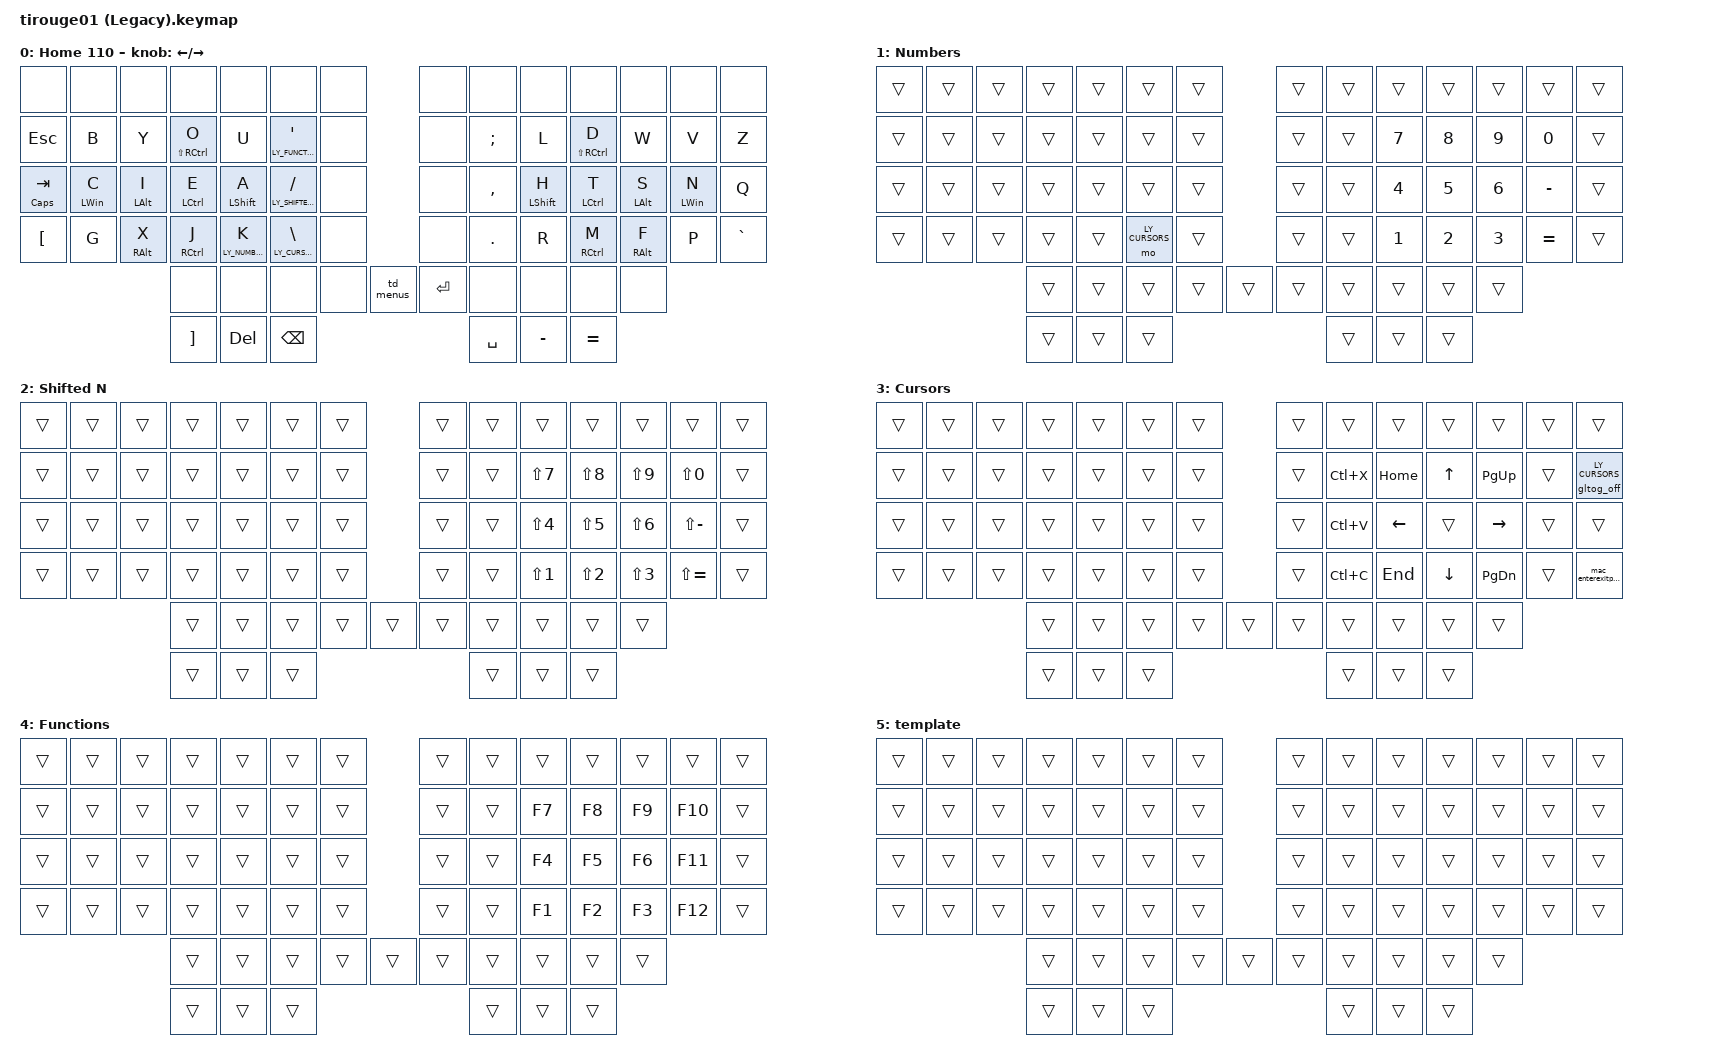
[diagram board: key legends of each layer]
/*
 * Copyright (c) 2022 The ZMK Contributors
 *
 * SPDX-License-Identifier: MIT
 */

#include <behaviors.dtsi>
#include <dt-bindings/zmk/keys.h>
#include <dt-bindings/zmk/bt.h>
#include <dt-bindings/zmk/outputs.h>

#define LY_DEFAULT   0
#define LY_NUMBERS   1
#define LY_SHIFTED_N 2
#define LY_CURSORS   3
#define LY_FUNCTIONS 4 


// https://zmk.dev/docs/keymaps/behaviors/sticky-layer
// 
// ...
// By default, sticky layers stay pressed for a second if you don't press any other key.
// You can configure this with the release-after-ms setting (see below).
// ...
&sl {
    release-after-ms = <5000>;
    ignore-modifiers;
};        


/ {
    behaviors {
        hrht: hrht {
            compatible = "zmk,behavior-hold-tap";
            #binding-cells = <2>;
            flavor = "balanced";
            require-prior-idle-ms = <150>;
            tapping-term-ms = <200>;
            quick-tap-ms = <175>;
            bindings = <&kp>, <&kp>;
        };
        
        lt: layer_tap {
            compatible = "zmk,behavior-hold-tap";
            #binding-cells = <2>;
            flavor = "balanced";
            require-prior-idle-ms = <150>;
            tapping-term-ms = <200>;
            quick-tap-ms = <175>;
            bindings = <&mo>, <&kp>;
        };

        gltog: generic_layer_toggle {
            compatible = "zmk,behavior-hold-tap";
            #binding-cells = <2>;
            flavor = "balanced";
            require-prior-idle-ms = <150>;
            tapping-term-ms = <200>;
            quick-tap-ms = <175>;
            bindings = <&tog>, <&kp>;
        };

        glstk: generic_layer_stick {
            compatible = "zmk,behavior-hold-tap";
            #binding-cells = <2>;
            flavor = "balanced";
            require-prior-idle-ms = <150>;
            tapping-term-ms = <200>;
            quick-tap-ms = <175>;
            bindings = <&sl>, <&kp>;
        };

        // If you wish to ensure that a layer is toggled on or off specifically,
        // rather than switching between the two states,
        // then you can do so with the toggle-mode property.
        // Define a new behavior and assign "on" or "off" to toggle-mode.
        // https://zmk.dev/docs/keymaps/behaviors/layers#configuration
        gltog_on: toggle_layer_on_only {
            compatible = "zmk,behavior-toggle-layer";
            #binding-cells = <1>;
            display-name = "Toggle Layer On";
            toggle-mode = "on";
        };        

        gltog_off: toggle_layer_off_only {
            compatible = "zmk,behavior-toggle-layer";
            #binding-cells = <1>;
            display-name = "Toggle Layer Off";
            toggle-mode = "off";
        };

        // A tap-dance key invokes a different behavior (e.g. kp) corresponding to how many times it is pressed.    
        // https://zmk.dev/docs/keymaps/behaviors/tap-dance
        td_menus: tap_dance_popup_main_menus {
            compatible = "zmk,behavior-tap-dance";
            #binding-cells = <0>;
            tapping-term-ms = <200>;
            bindings = <&mac_contextcursor>, <&mac_mainmenucursor>;
        };
    };

    macros {
        // Macro to open the context menu, scroll to the first item and switch to the cursor layer.
        mac_contextcursor: mac_contextcursor {
            compatible = "zmk,behavior-macro";
            #binding-cells = <0>;
            wait-ms = <10>;
            bindings = <&kp K_CONTEXT_MENU &kp DOWN &gltog_on LY_CURSORS>;
        };

        // Macro to open the main menu, scroll to the first item and switch to the cursor layer.
        mac_mainmenucursor: mac_mainmenucursor {
            compatible = "zmk,behavior-macro";
            #binding-cells = <0>;
            wait-ms = <10>;
            bindings = <&kp LALT &kp DOWN &gltog_on LY_CURSORS>;
        };

        // Macro to exit the cursor layer and press enter to launch the selected item.
        mac_enterexitpopup: mac_enterexitpopup {
            compatible = "zmk,behavior-macro";
            #binding-cells = <0>;
            wait-ms = <10>;
            bindings = <&gltog_off LY_CURSORS &kp KP_ENTER>;
        };
    };

    keymap {
        compatible = "zmk,keymap";

        layer_0 { // Home
// | SW6  | SW7  | SW1  | SW2  | SW3  | SW4  | SW5  |                    | SW5  | SW4  | SW3  | SW2  | SW1  | SW7  | SW6  |
// | SW13 | SW14 | SW8  | SW9  | SW10 | SW11 | SW12 |                    | SW12 | SW11 | SW10 | SW9  | SW8  | SW14 | SW13 |
// | SW20 | SW21 | SW15 | SW16 | SW17 | SW18 | SW19 |                    | SW19 | SW18 | SW17 | SW16 | SW15 | SW21 | SW20 |
// | SW28 | SW29 | SW23 | SW24 | SW25 | SW26 | SW27 |                    | SW27 | SW26 | SW25 | SW24 | SW23 | SW29 | SW28 |
//                      | SW31 | SW32 | SW33 | SW34 | SW38 |      | SW38 | SW34 | SW33 | SW32 | SW31 | 
//                      | SW35 | SW36 | SW37 |                                  | SW37 | SW36 | SW35 |

            display-name = "Home 110";
            bindings = <
&none               &none         &none         &none              &none             &none                      &none                           &none  &none       &none          &none              &none         &none         &none
&kp ESC             &kp B         &kp Y         &hrht LS(RCTRL) O  &kp U             &glstk LY_FUNCTIONS APOS   &none                           &none  &kp SEMI    &kp L          &hrht LS(RCTRL) D  &kp W         &kp V         &kp Z
&hrht CAPSLOCK TAB  &hrht LWIN C  &hrht LALT I  &hrht LCTRL E      &hrht LSHFT A     &lt LY_SHIFTED_N FSLH      &none                           &none  &kp COMMA   &hrht LSHFT H  &hrht LCTRL T      &hrht LALT S  &hrht LWIN N  &kp Q
&kp LBKT            &kp G         &hrht RALT X  &hrht RCTRL J      &lt LY_NUMBERS K  &gltog LY_CURSORS BSLH     &none                           &none  &kp PERIOD  &kp R          &hrht RCTRL M      &hrht RALT F  &kp P         &kp GRAVE
                                                &none              &none             &none                      &none  &td_menus     &kp ENTER  &none  &none       &none          &none
                                                &kp RBKT           &kp DEL           &kp BSPC                                                          &kp SPACE   &kp MINUS      &kp EQUAL    
            >;

            sensor-bindings = <&inc_dec_kp LEFT_ARROW RIGHT_ARROW>;
        };

        layer_1 { // Numbers
// | SW6  | SW7  | SW1  | SW2  | SW3  | SW4  | SW5  |                    | SW5  | SW4  | SW3  | SW2  | SW1  | SW7  | SW6  |
// | SW13 | SW14 | SW8  | SW9  | SW10 | SW11 | SW12 |                    | SW12 | SW11 | SW10 | SW9  | SW8  | SW14 | SW13 |
// | SW20 | SW21 | SW15 | SW16 | SW17 | SW18 | SW19 |                    | SW19 | SW18 | SW17 | SW16 | SW15 | SW21 | SW20 |
// | SW28 | SW29 | SW23 | SW24 | SW25 | SW26 | SW27 |                    | SW27 | SW26 | SW25 | SW24 | SW23 | SW29 | SW28 |
//                      | SW31 | SW32 | SW33 | SW34 | SW38 |      | SW38 | SW34 | SW33 | SW32 | SW31 | 
//                      | SW35 | SW36 | SW37 |                                  | SW37 | SW36 | SW35 |
            display-name = "Numbers";
            bindings = <
&trans &trans &trans &trans &trans &trans         &trans                   &trans &trans &trans &trans &trans &trans    &trans
&trans &trans &trans &trans &trans &trans         &trans                   &trans &trans &kp N7 &kp N8 &kp N9 &kp N0    &trans
&trans &trans &trans &trans &trans &trans         &trans                   &trans &trans &kp N4 &kp N5 &kp N6 &kp MINUS &trans
&trans &trans &trans &trans &trans &mo LY_CURSORS &trans                   &trans &trans &kp N1 &kp N2 &kp N3 &kp EQUAL &trans
                     &trans &trans &trans         &trans &trans     &trans &trans &trans &trans &trans
                     &trans &trans &trans                                         &trans &trans &trans
            >;
        };

        layer_2 { // Shifted N
// | SW6  | SW7  | SW1  | SW2  | SW3  | SW4  | SW5  |                    | SW5  | SW4  | SW3  | SW2  | SW1  | SW7  | SW6  |
// | SW13 | SW14 | SW8  | SW9  | SW10 | SW11 | SW12 |                    | SW12 | SW11 | SW10 | SW9  | SW8  | SW14 | SW13 |
// | SW20 | SW21 | SW15 | SW16 | SW17 | SW18 | SW19 |                    | SW19 | SW18 | SW17 | SW16 | SW15 | SW21 | SW20 |
// | SW28 | SW29 | SW23 | SW24 | SW25 | SW26 | SW27 |                    | SW27 | SW26 | SW25 | SW24 | SW23 | SW29 | SW28 |
//                      | SW31 | SW32 | SW33 | SW34 | SW38 |      | SW38 | SW34 | SW33 | SW32 | SW31 | 
//                      | SW35 | SW36 | SW37 |                                  | SW37 | SW36 | SW35 |
            display-name = "Shifted N";
            bindings = <
&trans &trans &trans &trans &trans &trans &trans                   &trans &trans &trans     &trans     &trans     &trans        &trans
&trans &trans &trans &trans &trans &trans &trans                   &trans &trans &kp LS(N7) &kp LS(N8) &kp LS(N9) &kp LS(N0)    &trans
&trans &trans &trans &trans &trans &trans &trans                   &trans &trans &kp LS(N4) &kp LS(N5) &kp LS(N6) &kp LS(MINUS) &trans
&trans &trans &trans &trans &trans &trans &trans                   &trans &trans &kp LS(N1) &kp LS(N2) &kp LS(N3) &kp LS(EQUAL) &trans
                     &trans &trans &trans &trans &trans     &trans &trans &trans &trans     &trans
                     &trans &trans &trans                                 &trans &trans     &trans
            >;
        };

        layer_3 { // Cursor
// | SW6  | SW7  | SW1  | SW2  | SW3  | SW4  | SW5  |                    | SW5  | SW4  | SW3  | SW2  | SW1  | SW7  | SW6  |
// | SW13 | SW14 | SW8  | SW9  | SW10 | SW11 | SW12 |                    | SW12 | SW11 | SW10 | SW9  | SW8  | SW14 | SW13 |
// | SW20 | SW21 | SW15 | SW16 | SW17 | SW18 | SW19 |                    | SW19 | SW18 | SW17 | SW16 | SW15 | SW21 | SW20 |
// | SW28 | SW29 | SW23 | SW24 | SW25 | SW26 | SW27 |                    | SW27 | SW26 | SW25 | SW24 | SW23 | SW29 | SW28 |
//                      | SW31 | SW32 | SW33 | SW34 | SW38 |      | SW38 | SW34 | SW33 | SW32 | SW31 | 
//                      | SW35 | SW36 | SW37 |                                  | SW37 | SW36 | SW35 |
            display-name = "Cursors";
            bindings = <
&trans  &trans  &trans  &trans  &trans  &trans  &trans                     &trans  &trans     &trans    &trans     &trans     &trans    &trans
&trans  &trans  &trans  &trans  &trans  &trans  &trans                     &trans  &kp LC(X)  &kp HOME  &kp UP     &kp PG_UP  &trans    &gltog_off LY_CURSORS
&trans  &trans  &trans  &trans  &trans  &trans  &trans                     &trans  &kp LC(V)  &kp LEFT  &trans     &kp RIGHT  &trans    &trans
&trans  &trans  &trans  &trans  &trans  &trans  &trans                     &trans  &kp LC(C)  &kp END   &kp DOWN   &kp PG_DN  &trans    &mac_enterexitpopup
                        &trans  &trans  &trans  &trans  &trans     &trans  &trans  &trans     &trans    &trans
                        &trans  &trans  &trans                                     &trans     &trans    &trans
            >;
        };

        layer_4 { // Functions
// | SW6  | SW7  | SW1  | SW2  | SW3  | SW4  | SW5  |                    | SW5  | SW4  | SW3  | SW2  | SW1  | SW7  | SW6  |
// | SW13 | SW14 | SW8  | SW9  | SW10 | SW11 | SW12 |                    | SW12 | SW11 | SW10 | SW9  | SW8  | SW14 | SW13 |
// | SW20 | SW21 | SW15 | SW16 | SW17 | SW18 | SW19 |                    | SW19 | SW18 | SW17 | SW16 | SW15 | SW21 | SW20 |
// | SW28 | SW29 | SW23 | SW24 | SW25 | SW26 | SW27 |                    | SW27 | SW26 | SW25 | SW24 | SW23 | SW29 | SW28 |
//                      | SW31 | SW32 | SW33 | SW34 | SW38 |      | SW38 | SW34 | SW33 | SW32 | SW31 | 
//                      | SW35 | SW36 | SW37 |                                  | SW37 | SW36 | SW35 |
            display-name = "Functions";
            bindings = <
&trans &trans &trans &trans &trans &trans &trans                   &trans &trans &trans &trans &trans &trans   &trans
&trans &trans &trans &trans &trans &trans &trans                   &trans &trans &kp F7 &kp F8 &kp F9 &kp F10  &trans
&trans &trans &trans &trans &trans &trans &trans                   &trans &trans &kp F4 &kp F5 &kp F6 &kp F11  &trans
&trans &trans &trans &trans &trans &trans &trans                   &trans &trans &kp F1 &kp F2 &kp F3 &kp F12  &trans
                     &trans &trans &trans &trans &trans     &trans &trans &trans &trans &trans
                     &trans &trans &trans                                 &trans &trans &trans
            >;
        };

        layer_5 { // template
// | SW6  | SW7  | SW1  | SW2  | SW3  | SW4  | SW5  |                    | SW5  | SW4  | SW3  | SW2  | SW1  | SW7  | SW6  |
// | SW13 | SW14 | SW8  | SW9  | SW10 | SW11 | SW12 |                    | SW12 | SW11 | SW10 | SW9  | SW8  | SW14 | SW13 |
// | SW20 | SW21 | SW15 | SW16 | SW17 | SW18 | SW19 |                    | SW19 | SW18 | SW17 | SW16 | SW15 | SW21 | SW20 |
// | SW28 | SW29 | SW23 | SW24 | SW25 | SW26 | SW27 |                    | SW27 | SW26 | SW25 | SW24 | SW23 | SW29 | SW28 |
//                      | SW31 | SW32 | SW33 | SW34 | SW38 |      | SW38 | SW34 | SW33 | SW32 | SW31 | 
//                      | SW35 | SW36 | SW37 |                                  | SW37 | SW36 | SW35 |
            display-name = "template";
            bindings = <
&trans &trans &trans &trans &trans &trans &trans                   &trans &trans &trans &trans &trans &trans &trans
&trans &trans &trans &trans &trans &trans &trans                   &trans &trans &trans &trans &trans &trans &trans
&trans &trans &trans &trans &trans &trans &trans                   &trans &trans &trans &trans &trans &trans &trans
&trans &trans &trans &trans &trans &trans &trans                   &trans &trans &trans &trans &trans &trans &trans
                     &trans &trans &trans &trans &trans     &trans &trans &trans &trans &trans
                     &trans &trans &trans                                 &trans &trans &trans
            >;
        };

        
    }; // keymap
};
